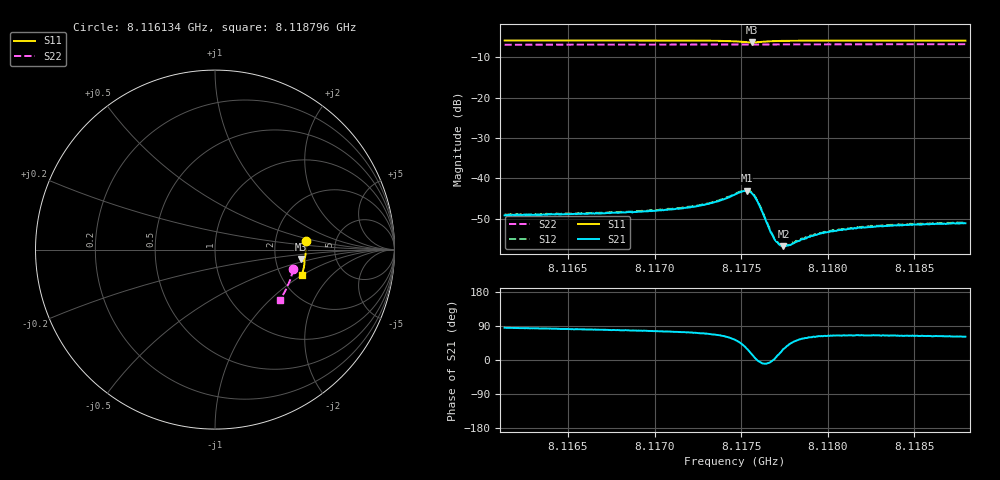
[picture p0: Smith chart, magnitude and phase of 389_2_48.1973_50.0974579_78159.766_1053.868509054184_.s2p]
#  HZ  S  RI  R  50.00
! Rohde & Schwarz Vector Network Analyzer
! Rohde-Schwarz,ZNB20-2Port,1311601062101988,3.16
! Created: UTC 3/20/2024, 11:53:32 AM
! freq[Hz]  re:S11  im:S11  re:S21  im:S21  re:S12  im:S12  re:S22  im:S22
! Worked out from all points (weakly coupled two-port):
!   401 points, 8.116134 GHz to 8.118796 GHz, reference 50 ohm
!   highest |S21| = -43.03 dB at 8.117532 GHz (marker M1); lowest = -56.7 dB at 8.117745 GHz (marker M2)
!   lowest |S11| = -6.4 dB at 8.117565 GHz (marker M3), VSWR 2.85, Z = 139 - j19 ohm
!   |S11| at or under -10 dB: nowhere
!   |S22| runs from -7.0 to -6.8 dB; largest |S21 - S12| = 0.00019
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8.1161339e9  0.5049 0.0482  0.000299 0.00349  0.000376 0.00355  0.4352 -0.1102
8.1165798e9  0.5063 0.0146  0.000569 0.00361  0.000627 0.00368  0.4277 -0.1403
8.1170257e9  0.5053 -0.0199  0.000964 0.00392  0.00107 0.00395  0.4182 -0.1699
8.1171522e9  0.5041 -0.0303  0.00118 0.00409  0.00126 0.00413  0.4151 -0.1782
8.1172986e9  0.5017 -0.0432  0.00167 0.00451  0.00174 0.00458  0.4114 -0.1877
8.1173851e9  0.4986 -0.0518  0.00234 0.00487  0.00241 0.00496  0.4089 -0.1933
8.117465e9  0.4916 -0.0598  0.00381 0.00509  0.0039 0.00515  0.4064 -0.1984
8.1175049e9  0.4849 -0.0614  0.00512 0.00462  0.00529 0.00465  0.405 -0.2009
8.1175315e9  0.4798 -0.0593  0.00607 0.00359  0.00621 0.00368  0.404 -0.2023
8.1175648e9  0.477 -0.0524  0.00632 0.0015  0.00643 0.00149  0.403 -0.204
8.1175848e9  0.4789 -0.0481  0.00567 0.000307  0.00578 0.000323  0.4026 -0.205
8.1176047e9  0.4828 -0.0456  0.00468 -0.000336  0.0048 -0.000437  0.4022 -0.2061
8.1176646e9  0.4931 -0.0487  0.00232 -0.000277  0.00241 -0.000312  0.4008 -0.2101
8.1176913e9  0.4955 -0.052  0.0018 5.13e-05  0.00185 6.73e-05  0.4002 -0.2117
8.1177179e9  0.4971 -0.0552  0.0015 0.000395  0.00151 0.000405  0.3995 -0.2136
8.1177445e9  0.4978 -0.0583  0.00127 0.000708  0.00133 0.000718  0.3987 -0.2154
8.1177711e9  0.4984 -0.0613  0.00116 0.000924  0.00117 0.000932  0.398 -0.2171
8.1179109e9  0.4986 -0.0749  0.000969 0.00169  0.000966 0.0017  0.3936 -0.2259
8.1179841e9  0.498 -0.0812  0.000957 0.00195  0.00102 0.00194  0.3912 -0.2305
8.1181239e9  0.4962 -0.0926  0.000995 0.00216  0.001 0.00218  0.3864 -0.2391
8.1183568e9  0.4925 -0.1104  0.00112 0.00233  0.00119 0.00238  0.3781 -0.2532
8.1187961e9  0.484 -0.1425  0.00133 0.00246  0.00138 0.00253  0.3612 -0.279
